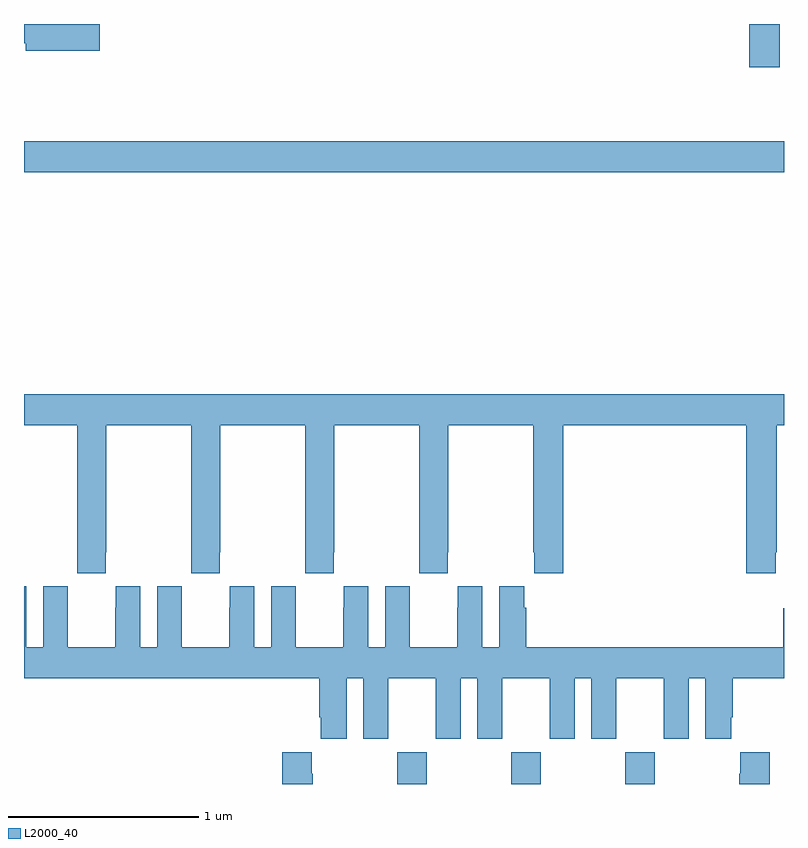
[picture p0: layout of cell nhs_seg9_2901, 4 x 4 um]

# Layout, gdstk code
import gdstk
lib = gdstk.Library(unit=1e-6, precision=1e-09)
def R(c, l, rs):  # rectangles x0, y0, x1, y1
    for r in rs: c.add(gdstk.rectangle(r[:2], r[2:], *l))
def A(c, l, x, y, w, h, nx, ny, dx, dy):  # array of equal rectangles
    R(c, l, [(x+i*dx, y+j*dy, x+i*dx+w, y+j*dy+h) for i in range(nx) for j in range(ny)])
def P(c, l, *ps):  # polygons
    for p in ps: c.add(gdstk.Polygon(p, *l))
L2000_40 = (2000, 40)

nhs_seg9_2901 = lib.new_cell('nhs_seg9_2901')
A(nhs_seg9_2901, L2000_40, 278.965, 1226.5, 0.155, 0.168, 3, 1, 0.6, 0)
R(nhs_seg9_2901, L2000_40, [(277,1229.72,281,1229.884), (280.817,1230.273,280.977,1230.5)])
P(nhs_seg9_2901, L2000_40, [(277.399,1230.5),(277,1230.5),(277,1230.4),(277.01,1230.4),(277.01,1230.358),(277.399,1230.358)],
  [(277.431,1227.721),(277.434,1227.721),(277.434,1228.388),(277.879,1228.388),(277.879,1227.721),(277.881,1227.721),(277.881,1227.609),(278.031,1227.609),(278.031,1227.721),(278.034,1227.721),(278.034,1228.388),(278.479,1228.388),(278.479,1227.721),(278.481,1227.721),(278.481,1227.609),(278.631,1227.609),(278.631,1227.721),(278.634,1227.721),(278.634,1228.388),(279.079,1228.388),(279.079,1227.721),(279.081,1227.721),(279.081,1227.609),(279.231,1227.609),(279.231,1227.721),(279.234,1227.721),(279.234,1228.388),(279.679,1228.388),(279.679,1227.721),(279.685,1227.721),(279.685,1227.609),(279.839,1227.609),(279.839,1228.388),(280.802,1228.388),(280.802,1227.609),(280.957,1227.609),(280.957,1227.721),(280.962,1227.721),(280.962,1228.388),(281,1228.388),(281,1228.552),(277,1228.552),(277,1228.388),(277.279,1228.388),(277.279,1227.721),(277.281,1227.721),(277.281,1227.609),(277.431,1227.609)],
  [(278.698,1227.056),(278.786,1227.056),(278.786,1226.739),(278.917,1226.739),(278.917,1227.056),(279.167,1227.056),(279.167,1226.739),(279.298,1226.739),(279.298,1227.056),(279.386,1227.056),(279.386,1226.739),(279.517,1226.739),(279.517,1227.056),(279.767,1227.056),(279.767,1226.739),(279.898,1226.739),(279.898,1227.056),(279.986,1227.056),(279.986,1226.739),(280.117,1226.739),(280.117,1227.056),(280.367,1227.056),(280.367,1226.739),(280.498,1226.739),(280.498,1227.056),(280.586,1227.056),(280.586,1226.739),(280.723,1226.739),(280.723,1226.851),(280.73,1226.851),(280.73,1227.056),(281,1227.056),(281,1227.425),(280.997,1227.425),(280.997,1227.22),(279.644,1227.22),(279.644,1227.428),(279.634,1227.428),(279.634,1227.541),(279.5,1227.541),(279.5,1227.22),(279.412,1227.22),(279.412,1227.541),(279.282,1227.541),(279.282,1227.428),(279.281,1227.428),(279.281,1227.22),(279.031,1227.22),(279.031,1227.428),(279.03,1227.428),(279.03,1227.541),(278.9,1227.541),(278.9,1227.22),(278.812,1227.22),(278.812,1227.541),(278.682,1227.541),(278.682,1227.428),(278.681,1227.428),(278.681,1227.22),(278.431,1227.22),(278.431,1227.428),(278.43,1227.428),(278.43,1227.541),(278.3,1227.541),(278.3,1227.22),(278.212,1227.22),(278.212,1227.541),(278.082,1227.541),(278.082,1227.428),(278.081,1227.428),(278.081,1227.22),(277.831,1227.22),(277.831,1227.428),(277.83,1227.428),(277.83,1227.541),(277.7,1227.541),(277.7,1227.22),(277.612,1227.22),(277.612,1227.541),(277.482,1227.541),(277.482,1227.428),(277.481,1227.428),(277.481,1227.22),(277.231,1227.22),(277.231,1227.428),(277.23,1227.428),(277.23,1227.541),(277.1,1227.541),(277.1,1227.22),(277.012,1227.22),(277.012,1227.541),(277,1227.541),(277,1227.056),(278.555,1227.056),(278.555,1226.851),(278.561,1226.851),(278.561,1226.739),(278.698,1226.739)],
  [(278.52,1226.555),(278.515,1226.555),(278.515,1226.668),(278.36,1226.668),(278.36,1226.5),(278.52,1226.5)],
  [(280.925,1226.668),(280.769,1226.668),(280.769,1226.555),(280.765,1226.555),(280.765,1226.5),(280.925,1226.5)])

lib.write_gds('nhs_seg9_2901.gds')
